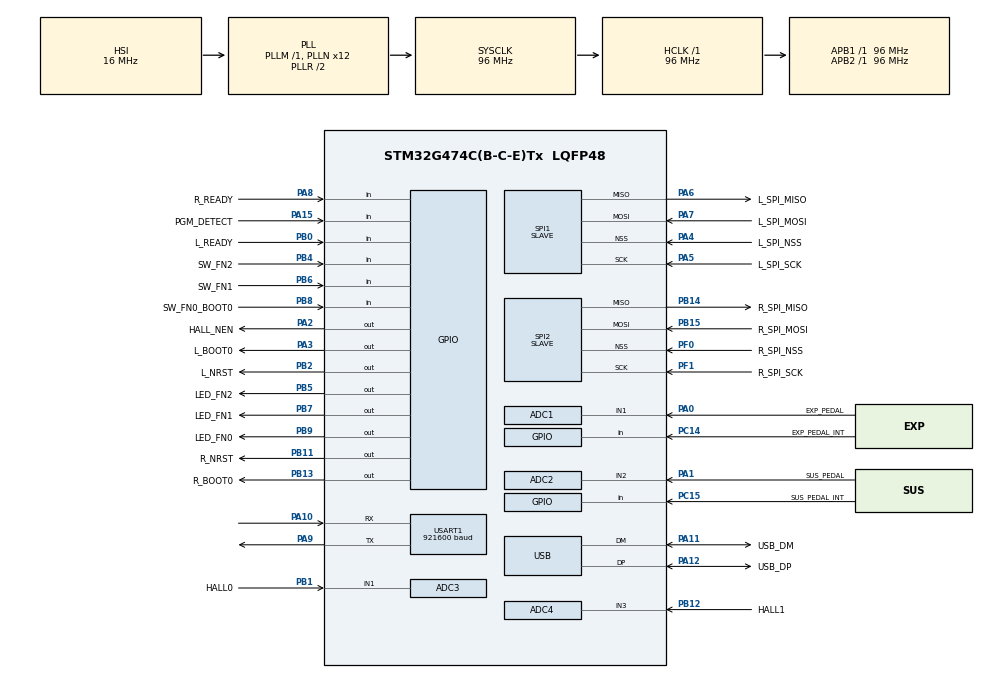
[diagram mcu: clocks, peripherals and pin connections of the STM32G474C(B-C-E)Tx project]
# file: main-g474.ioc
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ADC1.Channel-0\#ChannelRegularConversion=ADC_CHANNEL_1
ADC1.NbrOfConversionFlag=1
ADC1.OffsetNumber-0\#ChannelRegularConversion=ADC_OFFSET_NONE
ADC1.OversamplingMode=DISABLE
ADC1.Rank-0\#ChannelRegularConversion=1
ADC1.SamplingTime-0\#ChannelRegularConversion=ADC_SAMPLETIME_2CYCLES_5
ADC1.master=1
ADC2.Channel-0\#ChannelRegularConversion=ADC_CHANNEL_2
ADC2.NbrOfConversionFlag=1
ADC2.OffsetNumber-0\#ChannelRegularConversion=ADC_OFFSET_NONE
ADC2.Rank-0\#ChannelRegularConversion=1
ADC2.SamplingTime-0\#ChannelRegularConversion=ADC_SAMPLETIME_2CYCLES_5
ADC3.Channel-0\#ChannelRegularConversion=ADC_CHANNEL_1
ADC3.NbrOfConversionFlag=1
ADC3.OffsetNumber-0\#ChannelRegularConversion=ADC_OFFSET_NONE
ADC3.OversamplingMode=ENABLE
ADC3.Rank-0\#ChannelRegularConversion=1
ADC3.Ratio=ADC_OVERSAMPLING_RATIO_256
ADC3.RightBitShift=ADC_RIGHTBITSHIFT_7
ADC3.SamplingTime-0\#ChannelRegularConversion=ADC_SAMPLETIME_2CYCLES_5
ADC3.master=1
ADC4.Channel-0\#ChannelRegularConversion=ADC_CHANNEL_3
ADC4.NbrOfConversionFlag=1
ADC4.OffsetNumber-0\#ChannelRegularConversion=ADC_OFFSET_NONE
ADC4.OversamplingMode=ENABLE
ADC4.Rank-0\#ChannelRegularConversion=1
ADC4.Ratio=ADC_OVERSAMPLING_RATIO_256
ADC4.RightBitShift=ADC_RIGHTBITSHIFT_6
ADC4.SamplingTime-0\#ChannelRegularConversion=ADC_SAMPLETIME_2CYCLES_5
Dma.Request0=SPI1_RX
Dma.Request1=SPI2_RX
Dma.SPI1_RX.0.Direction=DMA_PERIPH_TO_MEMORY
Dma.SPI1_RX.0.EventEnable=DISABLE
Dma.SPI1_RX.0.Instance=DMA1_Channel1
Dma.SPI1_RX.0.MemDataAlignment=DMA_MDATAALIGN_HALFWORD
Dma.SPI1_RX.0.MemInc=DMA_MINC_ENABLE
Dma.SPI1_RX.0.Mode=DMA_NORMAL
Dma.SPI1_RX.0.PeriphDataAlignment=DMA_PDATAALIGN_HALFWORD
Dma.SPI1_RX.0.PeriphInc=DMA_PINC_DISABLE
Dma.SPI1_RX.0.Polarity=HAL_DMAMUX_REQ_GEN_RISING
Dma.SPI1_RX.0.Priority=DMA_PRIORITY_LOW
Dma.SPI1_RX.0.RequestNumber=1
Dma.SPI1_RX.0.SignalID=NONE
Dma.SPI1_RX.0.SyncEnable=DISABLE
Dma.SPI1_RX.0.SyncPolarity=HAL_DMAMUX_SYNC_NO_EVENT
Dma.SPI1_RX.0.SyncRequestNumber=1
Dma.SPI1_RX.0.SyncSignalID=NONE
Dma.SPI2_RX.1.Direction=DMA_PERIPH_TO_MEMORY
Dma.SPI2_RX.1.EventEnable=DISABLE
Dma.SPI2_RX.1.Instance=DMA1_Channel2
Dma.SPI2_RX.1.MemDataAlignment=DMA_MDATAALIGN_HALFWORD
Dma.SPI2_RX.1.MemInc=DMA_MINC_ENABLE
Dma.SPI2_RX.1.Mode=DMA_NORMAL
Dma.SPI2_RX.1.PeriphDataAlignment=DMA_PDATAALIGN_HALFWORD
Dma.SPI2_RX.1.PeriphInc=DMA_PINC_DISABLE
Dma.SPI2_RX.1.Polarity=HAL_DMAMUX_REQ_GEN_RISING
Dma.SPI2_RX.1.Priority=DMA_PRIORITY_LOW
Dma.SPI2_RX.1.RequestNumber=1
Dma.SPI2_RX.1.SignalID=NONE
Dma.SPI2_RX.1.SyncEnable=DISABLE
Dma.SPI2_RX.1.SyncPolarity=HAL_DMAMUX_SYNC_NO_EVENT
Dma.SPI2_RX.1.SyncRequestNumber=1
Dma.SPI2_RX.1.SyncSignalID=NONE
Mcu.Family=STM32G4
Mcu.Name=STM32G474C(B-C-E)Tx
Mcu.Package=LQFP48
NVIC.DMA1_Channel1_IRQn=true\:0\:0\:false\:false\:true\:false\:true\:true
NVIC.DMA1_Channel2_IRQn=true\:0\:0\:false\:false\:true\:false\:true\:true
NVIC.PriorityGroup=NVIC_PRIORITYGROUP_4
NVIC.SPI1_IRQn=true\:0\:0\:false\:false\:true\:true\:true\:true
NVIC.SPI2_IRQn=true\:0\:0\:false\:false\:true\:true\:true\:true
NVIC.USART1_IRQn=true\:0\:0\:false\:false\:true\:true\:true\:true
PA0.GPIO_Label=EXP_PEDAL
PA0.Mode=IN1-Single-Ended
PA0.Signal=ADC1_IN1
PA1.GPIO_Label=SUS_PEDAL
PA1.Mode=IN2-Single-Ended
PA1.Signal=ADC2_IN2
PA10.Mode=Asynchronous
PA10.Signal=USART1_RX
PA11.GPIO_Label=USB_DM
PA11.Mode=Device
PA11.Signal=USB_DM
PA12.GPIO_Label=USB_DP
PA12.Mode=Device
PA12.Signal=USB_DP
PA13.Mode=Trace_Asynchronous_SW
PA13.Signal=SYS_JTMS-SWDIO
PA14.Mode=Trace_Asynchronous_SW
PA14.Signal=SYS_JTCK-SWCLK
PA15.GPIO_Label=PGM_DETECT
PA15.GPIO_PuPd=GPIO_PULLUP
PA15.Signal=GPIO_Input
PA2.GPIO_Label=HALL_NEN
PA2.GPIO_ModeDefaultOutputPP=GPIO_MODE_OUTPUT_OD
PA2.GPIO_PuPd=GPIO_NOPULL
PA2.PinState=GPIO_PIN_SET
PA2.Signal=GPIO_Output
PA3.GPIO_Label=L_BOOT0
PA3.GPIO_ModeDefaultOutputPP=GPIO_MODE_OUTPUT_PP
PA3.GPIO_PuPd=GPIO_NOPULL
PA3.Signal=GPIO_Output
PA4.GPIO_Label=L_SPI_NSS
PA4.GPIO_PuPd=GPIO_PULLUP
PA4.Mode=NSS_Signal_Hard_Input
PA4.Signal=SPI1_NSS
PA5.GPIO_Label=L_SPI_SCK
PA5.Mode=Full_Duplex_Slave
PA5.Signal=SPI1_SCK
PA6.GPIO_Label=L_SPI_MISO
PA6.GPIO_PuPd=GPIO_PULLUP
PA6.Mode=Full_Duplex_Slave
PA6.Signal=SPI1_MISO
PA7.GPIO_Label=L_SPI_MOSI
PA7.Mode=Full_Duplex_Slave
PA7.Signal=SPI1_MOSI
PA8.GPIO_Label=R_READY
PA8.GPIO_PuPd=GPIO_PULLDOWN
PA8.Signal=GPIO_Input
PA9.Mode=Asynchronous
PA9.Signal=USART1_TX
PB0.GPIO_Label=L_READY
PB0.GPIO_PuPd=GPIO_PULLDOWN
PB0.Signal=GPIO_Input
PB1.GPIO_Label=HALL0
PB1.Mode=IN1-Single-Ended
PB1.Signal=ADC3_IN1
PB11.GPIO_Label=R_NRST
PB11.GPIO_ModeDefaultOutputPP=GPIO_MODE_OUTPUT_OD
PB11.GPIO_PuPd=GPIO_NOPULL
PB11.PinState=GPIO_PIN_SET
PB11.Signal=GPIO_Output
PB12.GPIO_Label=HALL1
PB12.Mode=IN3-Single-Ended
PB12.Signal=ADC4_IN3
PB13.GPIO_Label=R_BOOT0
PB13.Signal=GPIO_Output
PB14.GPIO_Label=R_SPI_MISO
PB14.GPIO_PuPd=GPIO_PULLUP
PB14.Mode=Full_Duplex_Slave
PB14.Signal=SPI2_MISO
PB15.GPIO_Label=R_SPI_MOSI
PB15.GPIO_PuPd=GPIO_NOPULL
PB15.Mode=Full_Duplex_Slave
PB15.Signal=SPI2_MOSI
PB2.GPIO_Label=L_NRST
PB2.GPIO_ModeDefaultOutputPP=GPIO_MODE_OUTPUT_OD
PB2.GPIO_PuPd=GPIO_NOPULL
PB2.PinState=GPIO_PIN_SET
PB2.Signal=GPIO_Output
PB3.Mode=Trace_Asynchronous_SW
PB3.Signal=SYS_JTDO-SWO
PB4.GPIO_Label=SW_FN2
PB4.GPIO_PuPd=GPIO_PULLUP
PB4.Signal=GPIO_Input
PB5.GPIO_Label=LED_FN2
PB5.Signal=GPIO_Output
PB6.GPIO_Label=SW_FN1
PB6.GPIO_PuPd=GPIO_PULLUP
PB6.Signal=GPIO_Input
PB7.GPIO_Label=LED_FN1
PB7.Signal=GPIO_Output
PB8-BOOT0.GPIO_Label=SW_FN0_BOOT0
PB8-BOOT0.Signal=GPIO_Input
PB9.GPIO_Label=LED_FN0
PB9.Signal=GPIO_Output
PC14-OSC32_IN.GPIO_Label=EXP_PEDAL_INT
PC14-OSC32_IN.GPIO_PuPd=GPIO_PULLDOWN
PC14-OSC32_IN.Signal=GPIO_Input
PC15-OSC32_OUT.GPIO_Label=SUS_PEDAL_INT
PC15-OSC32_OUT.GPIO_PuPd=GPIO_PULLDOWN
PC15-OSC32_OUT.Signal=GPIO_Input
PF0-OSC_IN.GPIO_Label=R_SPI_NSS
PF0-OSC_IN.GPIO_PuPd=GPIO_PULLUP
PF0-OSC_IN.Mode=NSS_Signal_Hard_Input
PF0-OSC_IN.Signal=SPI2_NSS
PF1-OSC_OUT.GPIO_Label=R_SPI_SCK
PF1-OSC_OUT.Mode=Full_Duplex_Slave
PF1-OSC_OUT.Signal=SPI2_SCK
ProjectManager.HeapSize=0x200
ProjectManager.StackSize=0x400
ProjectManager.TargetToolchain=CMake
RCC.ADC12Freq_Value=96000000
RCC.ADC345Freq_Value=96000000
RCC.AHBFreq_Value=96000000
RCC.APB1Freq_Value=96000000
RCC.APB1TimFreq_Value=96000000
RCC.APB2Freq_Value=96000000
RCC.APB2TimFreq_Value=96000000
RCC.CK48CLockSelection=RCC_USBCLKSOURCE_HSI48
RCC.CortexFreq_Value=96000000
RCC.EXTERNAL_CLOCK_VALUE=12288000
RCC.HCLKFreq_Value=96000000
RCC.HSE_VALUE=8000000
RCC.HSI48_VALUE=48000000
RCC.HSI_VALUE=16000000
RCC.LSE_VALUE=32768
RCC.PLLN=12
RCC.PLLQ=RCC_PLLQ_DIV4
RCC.SYSCLKFreq_VALUE=96000000
RCC.SYSCLKSource=RCC_SYSCLKSOURCE_PLLCLK
RCC.USBFreq_Value=48000000
RCC.VCOOutputFreq_Value=192000000
SPI1.CRCCalculation=SPI_CRCCALCULATION_ENABLE
SPI1.CRCLength=SPI_CRC_LENGTH_16BIT
SPI1.CRCPolynomial=X0+X1+X2
SPI1.DataSize=SPI_DATASIZE_16BIT
SPI1.Direction=SPI_DIRECTION_2LINES
SPI1.Mode=SPI_MODE_SLAVE
SPI1.VirtualNSS=VM_NSSHARD
SPI1.VirtualType=VM_SLAVE
SPI2.CRCCalculation=SPI_CRCCALCULATION_ENABLE
SPI2.CRCLength=SPI_CRC_LENGTH_16BIT
SPI2.DataSize=SPI_DATASIZE_16BIT
SPI2.Direction=SPI_DIRECTION_2LINES
SPI2.Mode=SPI_MODE_SLAVE
SPI2.VirtualNSS=VM_NSSHARD
SPI2.VirtualType=VM_SLAVE
USART1.BaudRate=921600
USART1.VirtualMode-Asynchronous=VM_ASYNC
VP_RCC_VS_USB.Mode=USB_FS
VP_SYS_VS_DBSignals.Mode=DisableDeadBatterySignals
board=custom

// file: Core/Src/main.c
/* USER CODE BEGIN Header */
/**
  ******************************************************************************
  * @file           : main.c
  * @brief          : Main program body
  ******************************************************************************
  * @attention
  *
  * Copyright (c) 2026 STMicroelectronics.
  * All rights reserved.
  *
  * This software is licensed under terms that can be found in the LICENSE file
  * in the root directory of this software component.
  * If no LICENSE file comes with this software, it is provided AS-IS.
  *
  ******************************************************************************
  */
/* USER CODE END Header */
#include "main.h"

/* USER CODE BEGIN Includes */
#include <stdio.h>
#include <stdlib.h>
#include <string.h>
#include "console.h"
#include "swo.h"
#include "usb_app.h"
#include "app/bellow.h"
#include "app/buttons.h"
#include "app/keyboard.h"
#include "app/pedals.h"
#include "app/report.h"
#include "properties.h"
#include "properties_console.h"
#include "app/midi.h"
#include "app/app.h"

/* USER CODE END Includes */

ADC_HandleTypeDef hadc1;
ADC_HandleTypeDef hadc2;
ADC_HandleTypeDef hadc3;
ADC_HandleTypeDef hadc4;

SPI_HandleTypeDef hspi1;
SPI_HandleTypeDef hspi2;
DMA_HandleTypeDef hdma_spi1_rx;
DMA_HandleTypeDef hdma_spi2_rx;

UART_HandleTypeDef huart1;

PCD_HandleTypeDef hpcd_USB_FS;

void SystemClock_Config(void);
static void MX_GPIO_Init(void);
static void MX_DMA_Init(void);
static void MX_ADC1_Init(void);
static void MX_ADC2_Init(void);
static void MX_ADC3_Init(void);
static void MX_ADC4_Init(void);
static void MX_SPI1_Init(void);
static void MX_SPI2_Init(void);
static void MX_USART1_UART_Init(void);
static void MX_USB_PCD_Init(void);

/* USER CODE BEGIN 0 */

int console_execute(int argc, const char * const *argv)
{
  if (argc == 0)
    return 0;
  /* microrl ends the input line with LF only (no CR), leaving the cursor under
   * the command text. Return to column 0 so output prints cleanly below the
   * preserved "IRin > <cmd>" line instead of overwriting it. */
  printf("\r\n");
  if (strcmp(argv[0], "hello") == 0)
  {
    printf("Hello, Bandolibre!\r\n");
  }
  else if (strcmp(argv[0], "midi") == 0)
  {
    /* midi [note]: send a test note on/off pair over USB MIDI (default A4) */
    uint8_t note = (argc > 1) ? (uint8_t)atoi(argv[1]) : 69;
    usb_app_midi_test_note(note);
    printf("Sent MIDI note %u on/off\r\n", note);
  }
  else if (strcmp(argv[0], "bellow_tune") == 0) bellow_tune();
  else if (strcmp(argv[0], "help") == 0)   { properties_help(); midi_console_help(); }
  else if (properties_execute(argc, argv)) { /* handled show/get/set/reset */ }
  else if (midi_console_execute(argc, argv)) { /* handled a send_* command */ }
  else
    printf("Unknown command: %s (try 'help')\r\n", argv[0]);
  return 0;
}

/* Tab-completion for microrl: completes the command word, and the property name
 * argument of get/set/reset. Returns a NULL-terminated array of full tokens.
 * property_complete() caps its output at the buffer size, so growth is safe. */
#define CONSOLE_COMPL_MAX 32
char ** console_complete(int argc, const char * const *argv)
{
  static const char *commands[] = { "help", "show", "get", "set", "reset", "hello", "midi", "bellow_tune" };
  static char *out[CONSOLE_COMPL_MAX + 1];
  const char *partial = (argc > 0) ? argv[argc - 1] : "";
  size_t n = 0;

  if (argc <= 1)
  {
    size_t plen = strlen(partial);
    for (size_t i = 0; i < sizeof(commands) / sizeof(commands[0]); i++)
      if (strncmp(commands[i], partial, plen) == 0)
        out[n++] = (char *)commands[i];
    const char *midi[CONSOLE_COMPL_MAX];
    size_t m = midi_console_complete(partial, midi, CONSOLE_COMPL_MAX - n);
    for (size_t i = 0; i < m; i++)
      out[n++] = (char *)midi[i];
  }
  else if (argc == 2 && (strcmp(argv[0], "get") == 0 ||
                         strcmp(argv[0], "set") == 0 ||
                         strcmp(argv[0], "reset") == 0))
  {
    const char *names[CONSOLE_COMPL_MAX];
    size_t m = properties_complete(partial, names, CONSOLE_COMPL_MAX);
    for (size_t i = 0; i < m; i++)
      out[n++] = (char *)names[i];
  }
  out[n] = NULL;
  return out;
}

/* USER CODE END 0 */

int main(void)
{

  /* MCU Configuration--------------------------------------------------------*/

  /* Reset of all peripherals, Initializes the Flash interface and the Systick. */
  HAL_Init();

  /* Configure the system clock */
  SystemClock_Config();

  /* Initialize all configured peripherals */
  MX_GPIO_Init();
  MX_DMA_Init();
  MX_ADC1_Init();
  MX_ADC2_Init();
  MX_ADC3_Init();
  MX_ADC4_Init();
  MX_SPI1_Init();
  MX_SPI2_Init();
  MX_USART1_UART_Init();
  MX_USB_PCD_Init();
  /* USER CODE BEGIN 2 */
  main_init();
  /* USER CODE END 2 */

  /* Infinite loop */
  while (1)
  {

    /* USER CODE BEGIN 3 */
    main_task();
  }
  /* USER CODE END 3 */
}

void SystemClock_Config(void)
{
  RCC_OscInitTypeDef RCC_OscInitStruct = {0};
  RCC_ClkInitTypeDef RCC_ClkInitStruct = {0};
  RCC_CRSInitTypeDef pInit = {0};

  /** Configure the main internal regulator output voltage
  */
  HAL_PWREx_ControlVoltageScaling(PWR_REGULATOR_VOLTAGE_SCALE1);

  /** Initializes the RCC Oscillators according to the specified parameters
  * in the RCC_OscInitTypeDef structure.
  */
  RCC_OscInitStruct.OscillatorType = RCC_OSCILLATORTYPE_HSI|RCC_OSCILLATORTYPE_HSI48;
  RCC_OscInitStruct.HSIState = RCC_HSI_ON;
  RCC_OscInitStruct.HSICalibrationValue = RCC_HSICALIBRATION_DEFAULT;
  RCC_OscInitStruct.HSI48State = RCC_HSI48_ON;
  RCC_OscInitStruct.PLL.PLLState = RCC_PLL_ON;
  RCC_OscInitStruct.PLL.PLLSource = RCC_PLLSOURCE_HSI;
  RCC_OscInitStruct.PLL.PLLM = RCC_PLLM_DIV1;
  RCC_OscInitStruct.PLL.PLLN = 12;
  RCC_OscInitStruct.PLL.PLLP = RCC_PLLP_DIV2;
  RCC_OscInitStruct.PLL.PLLQ = RCC_PLLQ_DIV4;
  RCC_OscInitStruct.PLL.PLLR = RCC_PLLR_DIV2;
  if (HAL_RCC_OscConfig(&RCC_OscInitStruct) != HAL_OK)
  {
    Error_Handler();
  }

  /** Initializes the CPU, AHB and APB buses clocks
  */
  RCC_ClkInitStruct.ClockType = RCC_CLOCKTYPE_HCLK|RCC_CLOCKTYPE_SYSCLK
                              |RCC_CLOCKTYPE_PCLK1|RCC_CLOCKTYPE_PCLK2;
  RCC_ClkInitStruct.SYSCLKSource = RCC_SYSCLKSOURCE_PLLCLK;
  RCC_ClkInitStruct.AHBCLKDivider = RCC_SYSCLK_DIV1;
  RCC_ClkInitStruct.APB1CLKDivider = RCC_HCLK_DIV1;
  RCC_ClkInitStruct.APB2CLKDivider = RCC_HCLK_DIV1;

  if (HAL_RCC_ClockConfig(&RCC_ClkInitStruct, FLASH_LATENCY_3) != HAL_OK)
  {
    Error_Handler();
  }

  /** Enable the SYSCFG APB clock
  */
  __HAL_RCC_CRS_CLK_ENABLE();

  /** Configures CRS
  */
  pInit.Prescaler = RCC_CRS_SYNC_DIV1;
  pInit.Source = RCC_CRS_SYNC_SOURCE_USB;
  pInit.Polarity = RCC_CRS_SYNC_POLARITY_RISING;
  pInit.ReloadValue = __HAL_RCC_CRS_RELOADVALUE_CALCULATE(48000000,1000);
  pInit.ErrorLimitValue = 34;
  pInit.HSI48CalibrationValue = 32;

  HAL_RCCEx_CRSConfig(&pInit);
}

static void MX_ADC1_Init(void)
{

  ADC_MultiModeTypeDef multimode = {0};
  ADC_ChannelConfTypeDef sConfig = {0};

  /** Common config
  */
  hadc1.Instance = ADC1;
  hadc1.Init.ClockPrescaler = ADC_CLOCK_SYNC_PCLK_DIV2;
  hadc1.Init.Resolution = ADC_RESOLUTION_12B;
  hadc1.Init.DataAlign = ADC_DATAALIGN_RIGHT;
  hadc1.Init.GainCompensation = 0;
  hadc1.Init.ScanConvMode = ADC_SCAN_DISABLE;
  hadc1.Init.EOCSelection = ADC_EOC_SINGLE_CONV;
  hadc1.Init.LowPowerAutoWait = DISABLE;
  hadc1.Init.ContinuousConvMode = DISABLE;
  hadc1.Init.NbrOfConversion = 1;
  hadc1.Init.DiscontinuousConvMode = DISABLE;
  hadc1.Init.ExternalTrigConv = ADC_SOFTWARE_START;
  hadc1.Init.ExternalTrigConvEdge = ADC_EXTERNALTRIGCONVEDGE_NONE;
  hadc1.Init.DMAContinuousRequests = DISABLE;
  hadc1.Init.Overrun = ADC_OVR_DATA_PRESERVED;
  hadc1.Init.OversamplingMode = DISABLE;
  if (HAL_ADC_Init(&hadc1) != HAL_OK)
  {
    Error_Handler();
  }

  /** Configure the ADC multi-mode
  */
  multimode.Mode = ADC_MODE_INDEPENDENT;
  if (HAL_ADCEx_MultiModeConfigChannel(&hadc1, &multimode) != HAL_OK)
  {
    Error_Handler();
  }

  /** Configure Regular Channel
  */
  sConfig.Channel = ADC_CHANNEL_1;
  sConfig.Rank = ADC_REGULAR_RANK_1;
  sConfig.SamplingTime = ADC_SAMPLETIME_2CYCLES_5;
  sConfig.SingleDiff = ADC_SINGLE_ENDED;
  sConfig.OffsetNumber = ADC_OFFSET_NONE;
  sConfig.Offset = 0;
  if (HAL_ADC_ConfigChannel(&hadc1, &sConfig) != HAL_OK)
  {
    Error_Handler();
  }

}

static void MX_ADC2_Init(void)
{

  ADC_ChannelConfTypeDef sConfig = {0};

  /** Common config
  */
  hadc2.Instance = ADC2;
  hadc2.Init.ClockPrescaler = ADC_CLOCK_SYNC_PCLK_DIV2;
  hadc2.Init.Resolution = ADC_RESOLUTION_12B;
  hadc2.Init.DataAlign = ADC_DATAALIGN_RIGHT;
  hadc2.Init.GainCompensation = 0;
  hadc2.Init.ScanConvMode = ADC_SCAN_DISABLE;
  hadc2.Init.EOCSelection = ADC_EOC_SINGLE_CONV;
  hadc2.Init.LowPowerAutoWait = DISABLE;
  hadc2.Init.ContinuousConvMode = DISABLE;
  hadc2.Init.NbrOfConversion = 1;
  hadc2.Init.DiscontinuousConvMode = DISABLE;
  hadc2.Init.ExternalTrigConv = ADC_SOFTWARE_START;
  hadc2.Init.ExternalTrigConvEdge = ADC_EXTERNALTRIGCONVEDGE_NONE;
  hadc2.Init.DMAContinuousRequests = DISABLE;
  hadc2.Init.Overrun = ADC_OVR_DATA_PRESERVED;
  hadc2.Init.OversamplingMode = DISABLE;
  if (HAL_ADC_Init(&hadc2) != HAL_OK)
  {
    Error_Handler();
  }

  /** Configure Regular Channel
  */
  sConfig.Channel = ADC_CHANNEL_2;
  sConfig.Rank = ADC_REGULAR_RANK_1;
  sConfig.SamplingTime = ADC_SAMPLETIME_2CYCLES_5;
  sConfig.SingleDiff = ADC_SINGLE_ENDED;
  sConfig.OffsetNumber = ADC_OFFSET_NONE;
  sConfig.Offset = 0;
  if (HAL_ADC_ConfigChannel(&hadc2, &sConfig) != HAL_OK)
  {
    Error_Handler();
  }

}

static void MX_ADC3_Init(void)
{

  ADC_MultiModeTypeDef multimode = {0};
  ADC_ChannelConfTypeDef sConfig = {0};

  /** Common config
  */
  hadc3.Instance = ADC3;
  hadc3.Init.ClockPrescaler = ADC_CLOCK_SYNC_PCLK_DIV2;
  hadc3.Init.Resolution = ADC_RESOLUTION_12B;
  hadc3.Init.DataAlign = ADC_DATAALIGN_RIGHT;
  hadc3.Init.GainCompensation = 0;
  hadc3.Init.ScanConvMode = ADC_SCAN_DISABLE;
  hadc3.Init.EOCSelection = ADC_EOC_SINGLE_CONV;
  hadc3.Init.LowPowerAutoWait = DISABLE;
  hadc3.Init.ContinuousConvMode = DISABLE;
  hadc3.Init.NbrOfConversion = 1;
  hadc3.Init.DiscontinuousConvMode = DISABLE;
  hadc3.Init.ExternalTrigConv = ADC_SOFTWARE_START;
  hadc3.Init.ExternalTrigConvEdge = ADC_EXTERNALTRIGCONVEDGE_NONE;
  hadc3.Init.DMAContinuousRequests = DISABLE;
  hadc3.Init.Overrun = ADC_OVR_DATA_PRESERVED;
  hadc3.Init.OversamplingMode = ENABLE;
  hadc3.Init.Oversampling.Ratio = ADC_OVERSAMPLING_RATIO_256;
  hadc3.Init.Oversampling.RightBitShift = ADC_RIGHTBITSHIFT_7;
  hadc3.Init.Oversampling.TriggeredMode = ADC_TRIGGEREDMODE_SINGLE_TRIGGER;
  hadc3.Init.Oversampling.OversamplingStopReset = ADC_REGOVERSAMPLING_CONTINUED_MODE;
  if (HAL_ADC_Init(&hadc3) != HAL_OK)
  {
    Error_Handler();
  }

  /** Configure the ADC multi-mode
  */
  multimode.Mode = ADC_MODE_INDEPENDENT;
  if (HAL_ADCEx_MultiModeConfigChannel(&hadc3, &multimode) != HAL_OK)
  {
    Error_Handler();
  }

  /** Configure Regular Channel
  */
  sConfig.Channel = ADC_CHANNEL_1;
  sConfig.Rank = ADC_REGULAR_RANK_1;
  sConfig.SamplingTime = ADC_SAMPLETIME_2CYCLES_5;
  sConfig.SingleDiff = ADC_SINGLE_ENDED;
  sConfig.OffsetNumber = ADC_OFFSET_NONE;
  sConfig.Offset = 0;
  if (HAL_ADC_ConfigChannel(&hadc3, &sConfig) != HAL_OK)
  {
    Error_Handler();
  }

}

static void MX_ADC4_Init(void)
{

  ADC_ChannelConfTypeDef sConfig = {0};

  /** Common config
  */
  hadc4.Instance = ADC4;
  hadc4.Init.ClockPrescaler = ADC_CLOCK_SYNC_PCLK_DIV2;
  hadc4.Init.Resolution = ADC_RESOLUTION_12B;
  hadc4.Init.DataAlign = ADC_DATAALIGN_RIGHT;
  hadc4.Init.GainCompensation = 0;
  hadc4.Init.ScanConvMode = ADC_SCAN_DISABLE;
  hadc4.Init.EOCSelection = ADC_EOC_SINGLE_CONV;
  hadc4.Init.LowPowerAutoWait = DISABLE;
  hadc4.Init.ContinuousConvMode = DISABLE;
  hadc4.Init.NbrOfConversion = 1;
  hadc4.Init.DiscontinuousConvMode = DISABLE;
  hadc4.Init.ExternalTrigConv = ADC_SOFTWARE_START;
  hadc4.Init.ExternalTrigConvEdge = ADC_EXTERNALTRIGCONVEDGE_NONE;
  hadc4.Init.DMAContinuousRequests = DISABLE;
  hadc4.Init.Overrun = ADC_OVR_DATA_PRESERVED;
  hadc4.Init.OversamplingMode = ENABLE;
  hadc4.Init.Oversampling.Ratio = ADC_OVERSAMPLING_RATIO_256;
  hadc4.Init.Oversampling.RightBitShift = ADC_RIGHTBITSHIFT_6;
  hadc4.Init.Oversampling.TriggeredMode = ADC_TRIGGEREDMODE_SINGLE_TRIGGER;
  hadc4.Init.Oversampling.OversamplingStopReset = ADC_REGOVERSAMPLING_CONTINUED_MODE;
  if (HAL_ADC_Init(&hadc4) != HAL_OK)
  {
    Error_Handler();
  }

  /** Configure Regular Channel
  */
  sConfig.Channel = ADC_CHANNEL_3;
  sConfig.Rank = ADC_REGULAR_RANK_1;
  sConfig.SamplingTime = ADC_SAMPLETIME_2CYCLES_5;
  sConfig.SingleDiff = ADC_SINGLE_ENDED;
  sConfig.OffsetNumber = ADC_OFFSET_NONE;
  sConfig.Offset = 0;
  if (HAL_ADC_ConfigChannel(&hadc4, &sConfig) != HAL_OK)
  {
    Error_Handler();
  }

}

static void MX_SPI1_Init(void)
{

  /* SPI1 parameter configuration*/
  hspi1.Instance = SPI1;
  hspi1.Init.Mode = SPI_MODE_SLAVE;
  hspi1.Init.Direction = SPI_DIRECTION_2LINES;
  hspi1.Init.DataSize = SPI_DATASIZE_16BIT;
  hspi1.Init.CLKPolarity = SPI_POLARITY_LOW;
  hspi1.Init.CLKPhase = SPI_PHASE_1EDGE;
  hspi1.Init.NSS = SPI_NSS_HARD_INPUT;
  hspi1.Init.FirstBit = SPI_FIRSTBIT_MSB;
  hspi1.Init.TIMode = SPI_TIMODE_DISABLE;
  hspi1.Init.CRCCalculation = SPI_CRCCALCULATION_ENABLE;
  hspi1.Init.CRCPolynomial = 7;
  hspi1.Init.CRCLength = SPI_CRC_LENGTH_16BIT;
  hspi1.Init.NSSPMode = SPI_NSS_PULSE_DISABLE;
  if (HAL_SPI_Init(&hspi1) != HAL_OK)
  {
    Error_Handler();
  }

}

static void MX_SPI2_Init(void)
{

  /* SPI2 parameter configuration*/
  hspi2.Instance = SPI2;
  hspi2.Init.Mode = SPI_MODE_SLAVE;
  hspi2.Init.Direction = SPI_DIRECTION_2LINES;
  hspi2.Init.DataSize = SPI_DATASIZE_16BIT;
  hspi2.Init.CLKPolarity = SPI_POLARITY_LOW;
  hspi2.Init.CLKPhase = SPI_PHASE_1EDGE;
  hspi2.Init.NSS = SPI_NSS_HARD_INPUT;
  hspi2.Init.FirstBit = SPI_FIRSTBIT_MSB;
  hspi2.Init.TIMode = SPI_TIMODE_DISABLE;
  hspi2.Init.CRCCalculation = SPI_CRCCALCULATION_ENABLE;
  hspi2.Init.CRCPolynomial = 7;
  hspi2.Init.CRCLength = SPI_CRC_LENGTH_16BIT;
  hspi2.Init.NSSPMode = SPI_NSS_PULSE_DISABLE;
  if (HAL_SPI_Init(&hspi2) != HAL_OK)
  {
    Error_Handler();
  }

}

static void MX_USART1_UART_Init(void)
{

  huart1.Instance = USART1;
  huart1.Init.BaudRate = 921600;
  huart1.Init.WordLength = UART_WORDLENGTH_8B;
  huart1.Init.StopBits = UART_STOPBITS_1;
  huart1.Init.Parity = UART_PARITY_NONE;
  huart1.Init.Mode = UART_MODE_TX_RX;
  huart1.Init.HwFlowCtl = UART_HWCONTROL_NONE;
  huart1.Init.OverSampling = UART_OVERSAMPLING_16;
  huart1.Init.OneBitSampling = UART_ONE_BIT_SAMPLE_DISABLE;
  huart1.Init.ClockPrescaler = UART_PRESCALER_DIV1;
  huart1.AdvancedInit.AdvFeatureInit = UART_ADVFEATURE_NO_INIT;
  if (HAL_UART_Init(&huart1) != HAL_OK)
  {
    Error_Handler();
  }
  if (HAL_UARTEx_SetTxFifoThreshold(&huart1, UART_TXFIFO_THRESHOLD_1_8) != HAL_OK)
  {
    Error_Handler();
  }
  if (HAL_UARTEx_SetRxFifoThreshold(&huart1, UART_RXFIFO_THRESHOLD_1_8) != HAL_OK)
  {
    Error_Handler();
  }
  if (HAL_UARTEx_DisableFifoMode(&huart1) != HAL_OK)
  {
    Error_Handler();
  }

}

static void MX_USB_PCD_Init(void)
{

  hpcd_USB_FS.Instance = USB;
  hpcd_USB_FS.Init.dev_endpoints = 8;
  hpcd_USB_FS.Init.speed = PCD_SPEED_FULL;
  hpcd_USB_FS.Init.phy_itface = PCD_PHY_EMBEDDED;
  hpcd_USB_FS.Init.Sof_enable = DISABLE;
  hpcd_USB_FS.Init.low_power_enable = DISABLE;
  hpcd_USB_FS.Init.lpm_enable = DISABLE;
  hpcd_USB_FS.Init.battery_charging_enable = DISABLE;
  if (HAL_PCD_Init(&hpcd_USB_FS) != HAL_OK)
  {
    Error_Handler();
  }

}

static void MX_DMA_Init(void)
{

  /* DMA controller clock enable */
  __HAL_RCC_DMAMUX1_CLK_ENABLE();
  __HAL_RCC_DMA1_CLK_ENABLE();

  /* DMA interrupt init */
  /* DMA1_Channel1_IRQn interrupt configuration */
  HAL_NVIC_SetPriority(DMA1_Channel1_IRQn, 0, 0);
  HAL_NVIC_EnableIRQ(DMA1_Channel1_IRQn);
  /* DMA1_Channel2_IRQn interrupt configuration */
  HAL_NVIC_SetPriority(DMA1_Channel2_IRQn, 0, 0);
  HAL_NVIC_EnableIRQ(DMA1_Channel2_IRQn);
  /* DMAMUX_OVR_IRQn interrupt configuration */
  HAL_NVIC_SetPriority(DMAMUX_OVR_IRQn, 0, 0);
  HAL_NVIC_EnableIRQ(DMAMUX_OVR_IRQn);

}

static void MX_GPIO_Init(void)
{
  GPIO_InitTypeDef GPIO_InitStruct = {0};

  /* GPIO Ports Clock Enable */
  __HAL_RCC_GPIOC_CLK_ENABLE();
  __HAL_RCC_GPIOF_CLK_ENABLE();
  __HAL_RCC_GPIOA_CLK_ENABLE();
  __HAL_RCC_GPIOB_CLK_ENABLE();

  /*Configure GPIO pin Output Level */
  HAL_GPIO_WritePin(HALL_NEN_GPIO_Port, HALL_NEN_Pin, GPIO_PIN_SET);

  /*Configure GPIO pin Output Level */
  HAL_GPIO_WritePin(L_BOOT0_GPIO_Port, L_BOOT0_Pin, GPIO_PIN_RESET);

  /*Configure GPIO pin Output Level */
  HAL_GPIO_WritePin(GPIOB, L_NRST_Pin|R_NRST_Pin, GPIO_PIN_SET);

  /*Configure GPIO pin Output Level */
  HAL_GPIO_WritePin(GPIOB, R_BOOT0_Pin|LED_FN2_Pin|LED_FN1_Pin|LED_FN0_Pin, GPIO_PIN_RESET);

  /*Configure GPIO pins : EXP_PEDAL_INT_Pin SUS_PEDAL_INT_Pin */
  GPIO_InitStruct.Pin = EXP_PEDAL_INT_Pin|SUS_PEDAL_INT_Pin;
  GPIO_InitStruct.Mode = GPIO_MODE_INPUT;
  GPIO_InitStruct.Pull = GPIO_PULLDOWN;
  HAL_GPIO_Init(GPIOC, &GPIO_InitStruct);

  /*Configure GPIO pin : HALL_NEN_Pin */
  GPIO_InitStruct.Pin = HALL_NEN_Pin;
  GPIO_InitStruct.Mode = GPIO_MODE_OUTPUT_OD;
  GPIO_InitStruct.Pull = GPIO_NOPULL;
  GPIO_InitStruct.Speed = GPIO_SPEED_FREQ_LOW;
  HAL_GPIO_Init(HALL_NEN_GPIO_Port, &GPIO_InitStruct);

  /*Configure GPIO pin : L_BOOT0_Pin */
  GPIO_InitStruct.Pin = L_BOOT0_Pin;
  GPIO_InitStruct.Mode = GPIO_MODE_OUTPUT_PP;
  GPIO_InitStruct.Pull = GPIO_NOPULL;
  GPIO_InitStruct.Speed = GPIO_SPEED_FREQ_LOW;
  HAL_GPIO_Init(L_BOOT0_GPIO_Port, &GPIO_InitStruct);

  /*Configure GPIO pin : L_READY_Pin */
  GPIO_InitStruct.Pin = L_READY_Pin;
  GPIO_InitStruct.Mode = GPIO_MODE_INPUT;
  GPIO_InitStruct.Pull = GPIO_PULLDOWN;
  HAL_GPIO_Init(L_READY_GPIO_Port, &GPIO_InitStruct);

  /*Configure GPIO pins : L_NRST_Pin R_NRST_Pin */
  GPIO_InitStruct.Pin = L_NRST_Pin|R_NRST_Pin;
  GPIO_InitStruct.Mode = GPIO_MODE_OUTPUT_OD;
  GPIO_InitStruct.Pull = GPIO_NOPULL;
  GPIO_InitStruct.Speed = GPIO_SPEED_FREQ_LOW;
  HAL_GPIO_Init(GPIOB, &GPIO_InitStruct);

  /*Configure GPIO pins : R_BOOT0_Pin LED_FN2_Pin LED_FN1_Pin LED_FN0_Pin */
  GPIO_InitStruct.Pin = R_BOOT0_Pin|LED_FN2_Pin|LED_FN1_Pin|LED_FN0_Pin;
  GPIO_InitStruct.Mode = GPIO_MODE_OUTPUT_PP;
  GPIO_InitStruct.Pull = GPIO_NOPULL;
  GPIO_InitStruct.Speed = GPIO_SPEED_FREQ_LOW;
  HAL_GPIO_Init(GPIOB, &GPIO_InitStruct);

  /*Configure GPIO pin : R_READY_Pin */
  GPIO_InitStruct.Pin = R_READY_Pin;
  GPIO_InitStruct.Mode = GPIO_MODE_INPUT;
  GPIO_InitStruct.Pull = GPIO_PULLDOWN;
  HAL_GPIO_Init(R_READY_GPIO_Port, &GPIO_InitStruct);

  /*Configure GPIO pin : PGM_DETECT_Pin */
  GPIO_InitStruct.Pin = PGM_DETECT_Pin;
  GPIO_InitStruct.Mode = GPIO_MODE_INPUT;
  GPIO_InitStruct.Pull = GPIO_PULLUP;
  HAL_GPIO_Init(PGM_DETECT_GPIO_Port, &GPIO_InitStruct);

  /*Configure GPIO pins : SW_FN2_Pin SW_FN1_Pin */
  GPIO_InitStruct.Pin = SW_FN2_Pin|SW_FN1_Pin;
  GPIO_InitStruct.Mode = GPIO_MODE_INPUT;
  GPIO_InitStruct.Pull = GPIO_PULLUP;
  HAL_GPIO_Init(GPIOB, &GPIO_InitStruct);

  /*Configure GPIO pin : SW_FN0_BOOT0_Pin */
  GPIO_InitStruct.Pin = SW_FN0_BOOT0_Pin;
  GPIO_InitStruct.Mode = GPIO_MODE_INPUT;
  GPIO_InitStruct.Pull = GPIO_NOPULL;
  HAL_GPIO_Init(SW_FN0_BOOT0_GPIO_Port, &GPIO_InitStruct);

}

void Error_Handler(void)
{
  __disable_irq();
  while (1)
  {
  }
}
